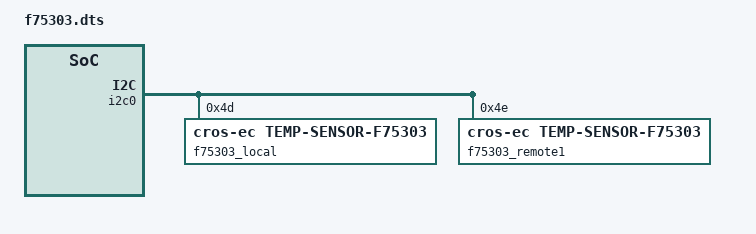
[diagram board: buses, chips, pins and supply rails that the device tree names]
/* Copyright 2026 The ChromiumOS Authors
 * Use of this source code is governed by a BSD-style license that can be
 * found in the LICENSE file.
 */

/*
 * Two channels of an F75303, each on an I2C mock of its own so that a test can
 * make the reads of one fail. They are not in named-temp-sensors, so nothing
 * but the tests polls them.
 */
&i2c0 {
	f75303_local: f75303_local@4d {
		compatible = "cros-ec,temp-sensor-f75303", "cros,i2c-mock";
		status = "okay";
		reg = <0x4d>;
		temperature-type = "F75303_IDX_LOCAL";
	};

	f75303_remote1: f75303_remote1@4e {
		compatible = "cros-ec,temp-sensor-f75303", "cros,i2c-mock";
		status = "okay";
		reg = <0x4e>;
		temperature-type = "F75303_IDX_REMOTE1";
	};
};
